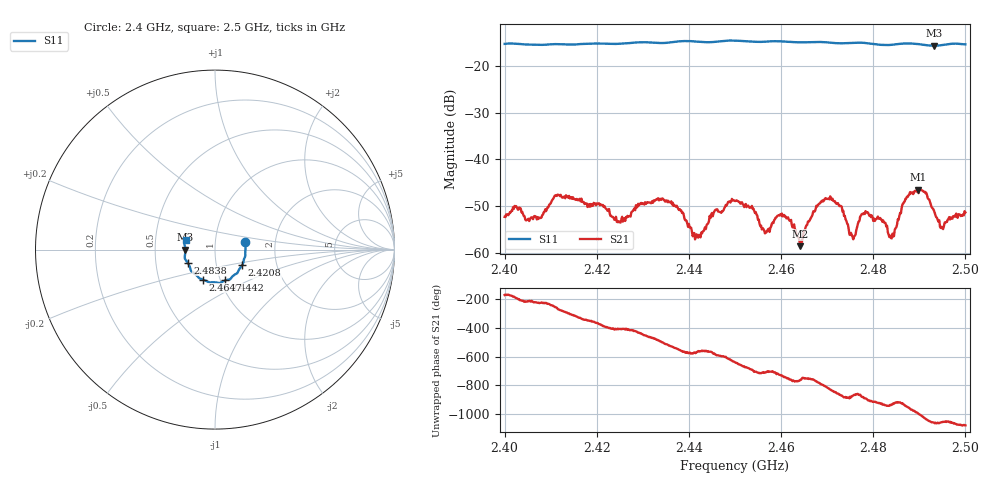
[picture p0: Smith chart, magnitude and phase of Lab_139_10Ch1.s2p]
# Hz S RI R 50
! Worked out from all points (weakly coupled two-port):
!   601 points, 2.4 GHz to 2.5 GHz, reference 50 ohm
!   highest |S21| = -46.46 dB at 2.4897 GHz (marker M1); lowest = -58.6 dB at 2.4642 GHz (marker M2)
!   lowest |S11| = -15.6 dB at 2.4932 GHz (marker M3), VSWR 1.40, Z = 35.8 - j0.0874 ohm
!   |S11| at or under -10 dB: start of sweep to end of sweep
!   S12 and S22 are empty: the file has one direction only
!   S11 on the Smith chart (normalised r, x): 2.4 GHz: 1.40, +0.12; 2.4208 GHz: 1.33, -0.24; 2.4442 GHz: 1.05, -0.37; 2.4647 GHz: 0.83, -0.29; 2.4838 GHz: 0.73, -0.11; 2.5 GHz: 0.72, +0.08
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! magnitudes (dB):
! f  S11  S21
! 2.4 GHz  -15.2  -52.3
! 2.4167 GHz  -15.3  -48.4
! 2.4208 GHz  -15.2  -49.7
! 2.4248 GHz  -15.2  -53.5
! 2.4333 GHz  -15.0  -48.3
! 2.4413 GHz  -14.7  -57.1
! 2.4442 GHz  -14.9  -53.7
! 2.45 GHz  -14.5  -48.9
! 2.4563 GHz  -14.8  -55.3
! 2.4612 GHz  -14.8  -52.6
! 2.4642 GHz  -14.9  -58.6
! 2.4647 GHz  -14.9  -57.0
! 2.4667 GHz  -14.8  -52.2
! 2.4707 GHz  -15.0  -47.9
! 2.4753 GHz  -15.0  -56.1
! 2.4783 GHz  -15.1  -51.1
! 2.4833 GHz  -15.5  -56.1
! 2.4838 GHz  -15.4  -56.8
! 2.4897 GHz  -15.3  -46.5
! 2.4932 GHz  -15.6  -50.9
! 2.495 GHz  -15.5  -54.8
! 2.5 GHz  -15.3  -51.4
